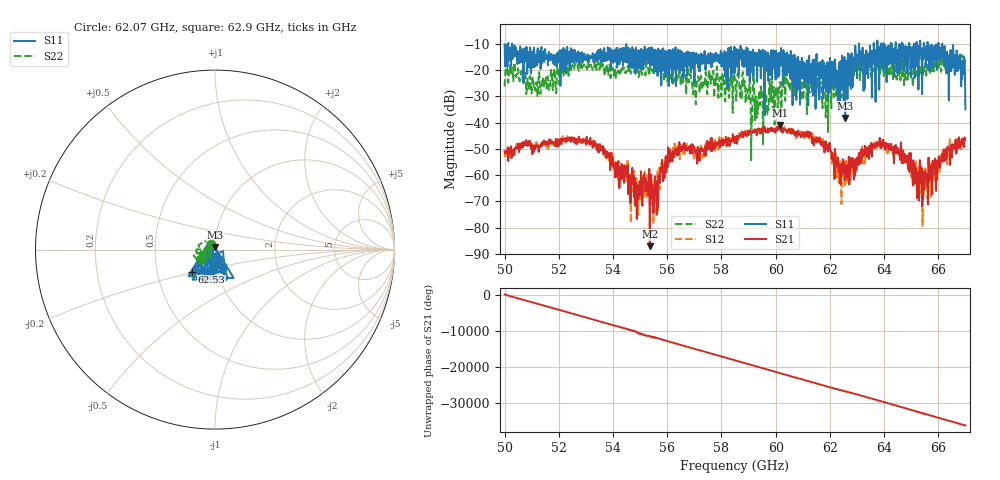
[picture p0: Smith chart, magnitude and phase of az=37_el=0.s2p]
!Created with skrf (http://scikit-rf.org).
# GHz S RI R 50.0
!freq ReS11 ImS11 ReS21 ImS21 ReS12 ImS12 ReS22 ImS22
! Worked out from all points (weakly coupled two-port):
!   1001 points, 50 GHz to 67 GHz, reference 50 ohm
!   highest |S21| = -40.92 dB at 60.15 GHz (marker M1); lowest = -87.1 dB at 55.36 GHz (marker M2)
!   lowest |S11| = -38.2 dB at 62.56 GHz (marker M3), VSWR 1.02, Z = 50.1 + j1.22 ohm
!   |S11| at or under -10 dB: 50.27 GHz to 63.07 GHz (12.8 GHz wide, 22.6 % of centre); 63.07 GHz to 63.62 GHz (541.6 MHz wide, 0.855 % of centre); 66.15 GHz to end of sweep (the widest 3 of 19)
!   |S22| runs from -54.3 to -14.0 dB; largest |S21 - S12| = 0.0022
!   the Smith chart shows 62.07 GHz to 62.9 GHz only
!   S11 on the Smith chart (normalised r, x): 62.07 GHz: 1.02, -0.10; 62.53 GHz: 0.75, -0.19; 62.9 GHz: 1.07, -0.21
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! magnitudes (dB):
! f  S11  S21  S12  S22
! 50 GHz  -10.3  -50.9  -50.3  -26.2
! 50.42 GHz  -14.9  -49.7  -49.9  -22.8
! 51.16 GHz  -14.4  -49.0  -49.5  -26.1
! 52.84 GHz  -14.4  -47.7  -46.9  -20.1
! 53.84 GHz  -15.4  -52.7  -54.4  -18.9
! 54.88 GHz  -18.4  -76.7  -76.6  -18.2
! 55.36 GHz  -14.2  -87.1  -64.4  -19.4
! 55.68 GHz  -13.8  -60.1  -61.7  -21.6
! 56.36 GHz  -14.9  -52.7  -51.5  -24.0
! 58.5 GHz  -21.1  -47.8  -46.6  -24.0
! 59.61 GHz  -12.9  -42.9  -42.3  -34.5
! 60.15 GHz  -13.6  -40.9  -42.0  -24.6
! 60.64 GHz  -14.5  -43.1  -42.5  -23.1
! 61.34 GHz  -24.0  -47.8  -47.4  -26.2
! 62.07 GHz  -25.7  -53.8  -55.6  -28.7
! 62.53 GHz  -15.0  -55.2  -57.5  -19.0
! 62.56 GHz  -38.2  -61.8  -62.1  -20.4
! 62.9 GHz  -19.4  -57.3  -54.0  -22.0
! 64.18 GHz  -17.7  -50.5  -49.5  -18.4
! 65.35 GHz  -14.4  -62.9  -56.3  -21.2
! 66.75 GHz  -19.6  -49.8  -46.2  -17.5
! 67 GHz  -35.0  -46.5  -49.4  -15.4
